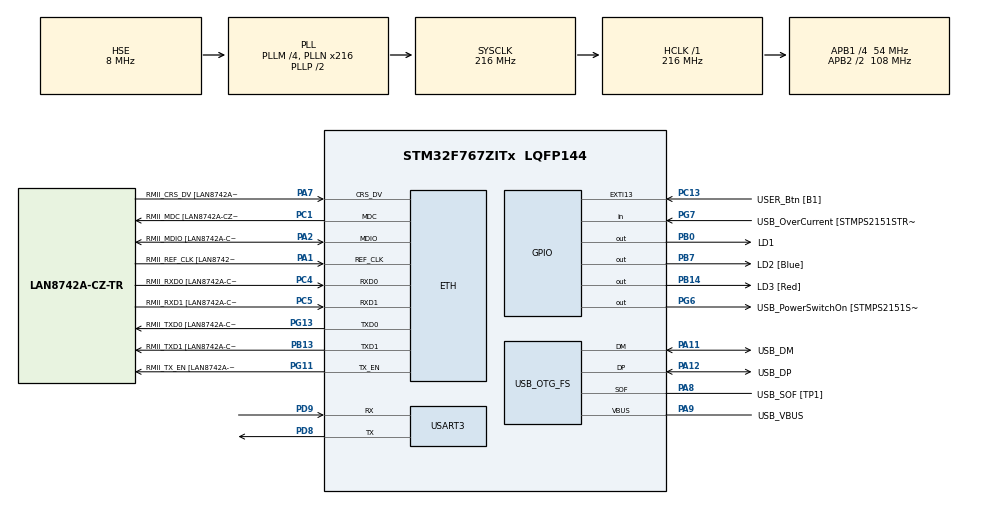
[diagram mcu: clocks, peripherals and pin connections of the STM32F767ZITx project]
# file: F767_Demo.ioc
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ADC1.Channel-0\#ChannelRegularConversion=ADC_CHANNEL_TEMPSENSOR
ADC1.NbrOfConversionFlag=1
ADC1.Rank-0\#ChannelRegularConversion=1
ADC1.SamplingTime-0\#ChannelRegularConversion=ADC_SAMPLETIME_3CYCLES
ADC1.master=1
CORTEX_M7.default_mode_Activation=1
Dma.ADC1.0.Direction=DMA_PERIPH_TO_MEMORY
Dma.ADC1.0.FIFOMode=DMA_FIFOMODE_DISABLE
Dma.ADC1.0.Instance=DMA2_Stream0
Dma.ADC1.0.MemDataAlignment=DMA_MDATAALIGN_HALFWORD
Dma.ADC1.0.MemInc=DMA_MINC_ENABLE
Dma.ADC1.0.Mode=DMA_CIRCULAR
Dma.ADC1.0.PeriphDataAlignment=DMA_PDATAALIGN_HALFWORD
Dma.ADC1.0.PeriphInc=DMA_PINC_DISABLE
Dma.ADC1.0.Priority=DMA_PRIORITY_LOW
Dma.Request0=ADC1
ETH.MediaInterface=HAL_ETH_RMII_MODE
ETH.PHY_Name=LAN8742A_PHY_ADDRESS
ETH.PHY_Value=0
ETH.PhyAddress=0
Mcu.Family=STM32F7
Mcu.Name=STM32F767ZITx
Mcu.Package=LQFP144
Mcu.UserConstants=SERIAL_BAUDRATE,921600;ADC_CHAN_NO,2
NVIC.DMA2_Stream0_IRQn=true\:0\:0\:false\:false\:true\:false\:true\:true
NVIC.PriorityGroup=NVIC_PRIORITYGROUP_4
NVIC.TIM8_TRG_COM_TIM14_IRQn=true\:15\:0\:false\:false\:true\:false\:true\:true
NVIC.TimeBase=TIM8_TRG_COM_TIM14_IRQn
NVIC.TimeBaseIP=TIM14
PA1.GPIO_Label=RMII_REF_CLK [LAN8742A-CZ-TR_REFCLK0]
PA1.Mode=RMII
PA1.Signal=ETH_REF_CLK
PA10.GPIO_Label=USB_ID
PA10.Signal=USB_OTG_FS_ID
PA11.GPIO_Label=USB_DM
PA11.Mode=Device_Only
PA11.Signal=USB_OTG_FS_DM
PA12.GPIO_Label=USB_DP
PA12.Mode=Device_Only
PA12.Signal=USB_OTG_FS_DP
PA13.GPIO_Label=TMS
PA13.Mode=Trace_Asynchronous_SW
PA13.Signal=SYS_JTMS-SWDIO
PA14.GPIO_Label=TCK
PA14.Mode=Trace_Asynchronous_SW
PA14.Signal=SYS_JTCK-SWCLK
PA2.GPIO_Label=RMII_MDIO [LAN8742A-CZ-TR_MDIO]
PA2.Mode=RMII
PA2.Signal=ETH_MDIO
PA7.GPIO_Label=RMII_CRS_DV [LAN8742A-CZ-TR_CRS_DV]
PA7.Mode=RMII
PA7.Signal=ETH_CRS_DV
PA8.GPIO_Label=USB_SOF [TP1]
PA8.Mode=Activate_SOF_FS
PA8.Signal=USB_OTG_FS_SOF
PA9.GPIO_Label=USB_VBUS
PA9.Mode=Activate_VBUS
PA9.Signal=USB_OTG_FS_VBUS
PB0.GPIO_Label=LD1
PB0.Signal=GPIO_Output
PB13.GPIO_Label=RMII_TXD1 [LAN8742A-CZ-TR_TXD1]
PB13.Mode=RMII
PB13.Signal=ETH_TXD1
PB14.GPIO_Label=LD3 [Red]
PB14.Signal=GPIO_Output
PB3.GPIO_Label=SWO
PB3.Mode=Trace_Asynchronous_SW
PB3.Signal=SYS_JTDO-SWO
PB7.GPIO_Label=LD2 [Blue]
PB7.Signal=GPIO_Output
PC1.GPIO_Label=RMII_MDC [LAN8742A-CZ-TR_MDC]
PC1.Mode=RMII
PC1.Signal=ETH_MDC
PC13.GPIO_Label=USER_Btn [B1]
PC13.Signal=GPXTI13
PC14/OSC32_IN.Mode=LSE-External-Oscillator
PC14/OSC32_IN.Signal=RCC_OSC32_IN
PC15/OSC32_OUT.Mode=LSE-External-Oscillator
PC15/OSC32_OUT.Signal=RCC_OSC32_OUT
PC4.GPIO_Label=RMII_RXD0 [LAN8742A-CZ-TR_RXD0]
PC4.Mode=RMII
PC4.Signal=ETH_RXD0
PC5.GPIO_Label=RMII_RXD1 [LAN8742A-CZ-TR_RXD1]
PC5.Mode=RMII
PC5.Signal=ETH_RXD1
PD8.GPIO_ModeDefaultPP=GPIO_MODE_AF_PP
PD8.GPIO_PuPd=GPIO_NOPULL
PD8.GPIO_Speed=GPIO_SPEED_FREQ_VERY_HIGH
PD8.Mode=Asynchronous
PD8.Signal=USART3_TX
PD9.GPIO_ModeDefaultPP=GPIO_MODE_AF_PP
PD9.GPIO_PuPd=GPIO_NOPULL
PD9.GPIO_Speed=GPIO_SPEED_FREQ_VERY_HIGH
PD9.Mode=Asynchronous
PD9.Signal=USART3_RX
PG11.GPIO_Label=RMII_TX_EN [LAN8742A-CZ-TR_TXEN]
PG11.Mode=RMII
PG11.Signal=ETH_TX_EN
PG13.GPIO_Label=RMII_TXD0 [LAN8742A-CZ-TR_TXD0]
PG13.Mode=RMII
PG13.Signal=ETH_TXD0
PG6.GPIO_Label=USB_PowerSwitchOn [STMPS2151STR_EN]
PG6.Signal=GPIO_Output
PG7.GPIO_Label=USB_OverCurrent [STMPS2151STR_FAULT]
PG7.Signal=GPIO_Input
PH0/OSC_IN.GPIO_Label=MCO [STM32F103CBT6_PA8]
PH0/OSC_IN.Mode=HSE-External-Clock-Source
PH0/OSC_IN.Signal=RCC_OSC_IN
PH1/OSC_OUT.Mode=HSE-External-Clock-Source
PH1/OSC_OUT.Signal=RCC_OSC_OUT
ProjectManager.HeapSize=0x1000
ProjectManager.StackSize=0x2000
ProjectManager.TargetToolchain=MDK-ARM V5.32
RCC.48MHZClocksFreq_Value=24000000
RCC.AHBFreq_Value=216000000
RCC.APB1CLKDivider=RCC_HCLK_DIV4
RCC.APB1Freq_Value=54000000
RCC.APB1TimFreq_Value=108000000
RCC.APB2CLKDivider=RCC_HCLK_DIV2
RCC.APB2Freq_Value=108000000
RCC.APB2TimFreq_Value=216000000
RCC.CortexFreq_Value=216000000
RCC.HCLKFreq_Value=216000000
RCC.HSE_VALUE=8000000
RCC.HSI_VALUE=16000000
RCC.PLLM=4
RCC.PLLMUL=RCC_PLL_MUL9
RCC.PLLN=216
RCC.PLLQ=9
RCC.PRESCALERUSB=RCC_USBCLKSOURCE_PLL_DIV1_5
RCC.SYSCLKFreq_VALUE=216000000
RCC.SYSCLKSource=RCC_SYSCLKSOURCE_PLLCLK
RCC.SYSCLKSourceVirtual=RCC_SYSCLKSOURCE_PLLCLK
RCC.USBFreq_Value=48000000
RCC.VCOOutputFreq_Value=432000000
USART3.BaudRate=SERIAL_BAUDRATE
USART3.VirtualMode-Asynchronous=VM_ASYNC
USB_OTG_FS.VirtualMode=Device_Only
VP_ADC1_TempSens_Input.Mode=IN-TempSens
VP_ADC1_Vref_Input.Mode=IN-Vrefint
VP_SYS_VS_tim14.Mode=TIM14
board=NUCLEO-F767ZI

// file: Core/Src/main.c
/* USER CODE BEGIN Header */
/**
  ******************************************************************************
  * @file           : main.c
  * @brief          : Main program body
  ******************************************************************************
  * @attention
  *
  * Copyright (c) 2026 STMicroelectronics.
  * All rights reserved.
  *
  * This software is licensed under terms that can be found in the LICENSE file
  * in the root directory of this software component.
  * If no LICENSE file comes with this software, it is provided AS-IS.
  *
  ******************************************************************************
  */
/* USER CODE END Header */
#include "main.h"
#include "adc.h"
#include "dma.h"
#include "eth.h"
#include "usart.h"
#include "usb_otg.h"
#include "gpio.h"

/* USER CODE BEGIN Includes */
#include <stdio.h>

#include "cmsis_os.h"
#include "ethernetif.h"
#include "lwip/netif.h"
#include "lwip/tcpip.h"
#include "app_ethernet.h"
#include "httpserver-netconn.h"
/* USER CODE END Includes */

void SystemClock_Config(void);
static void MPU_Config(void);

/* USER CODE BEGIN 0 */
struct netif gnetif; /* network interface structure */

/* Private function prototypes -----------------------------------------------*/
static void StartThread(void const * argument);
static void BSP_Config(void);
static void Netif_Config(void);
static void CPU_CACHE_Enable(void);

volatile uint16_t g_ADCBuf[2];

int stdout_putchar (int ch) {
	HAL_UART_Transmit(&huart3, (uint8_t*)&ch, 1, 0xFFFF);
	return ch;
}

extern uint32_t __Vectors;
extern uint32_t __Vectors_End;
extern uint32_t __Vectors_Size;

void user_loop(void) {
		printf("CC: %s\n", COMPILER_NAME);
		printf("%u Hz, %08X, CM:%d, FPU_USED:%d\n",
				SystemCoreClock, SCB->CPUID,
				__CORTEX_M, __FPU_USED);
		printf("vector: %08X %08X %08X\n", (uint32_t)(&__Vectors), (uint32_t)(&__Vectors_End), (uint32_t)(&SystemCoreClock));
		HAL_Delay(60 * configTICK_RATE_HZ);
}

/* USER CODE END 0 */

int main(void)
{

  /* MPU Configuration--------------------------------------------------------*/
  MPU_Config();

  /* MCU Configuration--------------------------------------------------------*/

  /* Reset of all peripherals, Initializes the Flash interface and the Systick. */
  HAL_Init();

  /* USER CODE BEGIN Init */
  /* Enable the CPU Cache */
  CPU_CACHE_Enable();
  /* USER CODE END Init */

  /* Configure the system clock */
  SystemClock_Config();

  /* Initialize all configured peripherals */
  MX_GPIO_Init();
  MX_DMA_Init();
  MX_ETH_Init();
  MX_USART3_UART_Init();
  MX_USB_OTG_FS_PCD_Init();
  MX_ADC1_Init();
  /* USER CODE BEGIN 2 */

	  BSP_Config();

  /* Init thread */
#if defined(__GNUC__)
  osThreadDef(Start, StartThread, osPriorityNormal, 0, configMINIMAL_STACK_SIZE * 5);
#else
  osThreadDef(Start, StartThread, osPriorityNormal, 0, configMINIMAL_STACK_SIZE * 2);
#endif

  osThreadCreate (osThread(Start), NULL);

	HAL_ADC_Start_DMA(&hadc1, (uint32_t*)g_ADCBuf, sizeof(g_ADCBuf)/sizeof(g_ADCBuf[0]));

	printf("CC: %s\n", COMPILER_NAME);
	printf("%u Hz, %08X, CM:%d, FPU_USED:%d\n",
			SystemCoreClock, SCB->CPUID,
			__CORTEX_M, __FPU_USED);
		printf("vector: %08X %08X %08X\n", (uint32_t)(&__Vectors), (uint32_t)(&__Vectors_End), (uint32_t)(&SystemCoreClock));

  /* Start scheduler */
	vTaskStartScheduler();
  /* USER CODE END 2 */

  /* Infinite loop */
  /* USER CODE BEGIN WHILE */
  while (1)
  {
		user_loop();
    /* USER CODE END WHILE */

  }
}

void SystemClock_Config(void)
{
  RCC_OscInitTypeDef RCC_OscInitStruct = {0};
  RCC_ClkInitTypeDef RCC_ClkInitStruct = {0};

  /** Configure LSE Drive Capability
  */
  HAL_PWR_EnableBkUpAccess();

  /** Configure the main internal regulator output voltage
  */
  __HAL_RCC_PWR_CLK_ENABLE();
  __HAL_PWR_VOLTAGESCALING_CONFIG(PWR_REGULATOR_VOLTAGE_SCALE1);

  /** Initializes the RCC Oscillators according to the specified parameters
  * in the RCC_OscInitTypeDef structure.
  */
  RCC_OscInitStruct.OscillatorType = RCC_OSCILLATORTYPE_HSE;
  RCC_OscInitStruct.HSEState = RCC_HSE_BYPASS;
  RCC_OscInitStruct.PLL.PLLState = RCC_PLL_ON;
  RCC_OscInitStruct.PLL.PLLSource = RCC_PLLSOURCE_HSE;
  RCC_OscInitStruct.PLL.PLLM = 4;
  RCC_OscInitStruct.PLL.PLLN = 216;
  RCC_OscInitStruct.PLL.PLLP = RCC_PLLP_DIV2;
  RCC_OscInitStruct.PLL.PLLQ = 9;
  RCC_OscInitStruct.PLL.PLLR = 2;
  if (HAL_RCC_OscConfig(&RCC_OscInitStruct) != HAL_OK)
  {
    Error_Handler();
  }

  /** Activate the Over-Drive mode
  */
  if (HAL_PWREx_EnableOverDrive() != HAL_OK)
  {
    Error_Handler();
  }

  /** Initializes the CPU, AHB and APB buses clocks
  */
  RCC_ClkInitStruct.ClockType = RCC_CLOCKTYPE_HCLK|RCC_CLOCKTYPE_SYSCLK
                              |RCC_CLOCKTYPE_PCLK1|RCC_CLOCKTYPE_PCLK2;
  RCC_ClkInitStruct.SYSCLKSource = RCC_SYSCLKSOURCE_PLLCLK;
  RCC_ClkInitStruct.AHBCLKDivider = RCC_SYSCLK_DIV1;
  RCC_ClkInitStruct.APB1CLKDivider = RCC_HCLK_DIV4;
  RCC_ClkInitStruct.APB2CLKDivider = RCC_HCLK_DIV2;

  if (HAL_RCC_ClockConfig(&RCC_ClkInitStruct, FLASH_LATENCY_7) != HAL_OK)
  {
    Error_Handler();
  }
}

/* USER CODE BEGIN 4 */
/**
  * @brief  Start Thread
  * @param  argument not used
  * @retval None
  */
static void StartThread(void const * argument)
{
  /* Create tcp_ip stack thread */
  tcpip_init(NULL, NULL);

  /* Initialize the LwIP stack */
  Netif_Config();

  /* Initialize webserver demo */
  http_server_netconn_init();

  for( ;; )
  {
    /* Delete the Init Thread */
    osThreadTerminate(NULL);
  }
}

/**
  * @brief  Initializes the STM324x9I-EVAL's LCD and LEDs resources.
  * @param  None
  * @retval None
  */
static void BSP_Config(void)
{
  /* Configure LED1 and LED2 */
  BSP_LED_Init(LED1);
  BSP_LED_Init(LED2);
}

/**
  * @brief  Initializes the lwIP stack
  * @param  None
  * @retval None
  */
static void Netif_Config(void)
{
  ip_addr_t ipaddr;
  ip_addr_t netmask;
  ip_addr_t gw;

#if LWIP_DHCP
  ip_addr_set_zero_ip4(&ipaddr);
  ip_addr_set_zero_ip4(&netmask);
  ip_addr_set_zero_ip4(&gw);
#else
  IP_ADDR4(&ipaddr,IP_ADDR0,IP_ADDR1,IP_ADDR2,IP_ADDR3);
  IP_ADDR4(&netmask,NETMASK_ADDR0,NETMASK_ADDR1,NETMASK_ADDR2,NETMASK_ADDR3);
  IP_ADDR4(&gw,GW_ADDR0,GW_ADDR1,GW_ADDR2,GW_ADDR3);
#endif /* LWIP_DHCP */

  /* add the network interface */
  netif_add(&gnetif, &ipaddr, &netmask, &gw, NULL, &ethernetif_init, &tcpip_input);

  /*  Registers the default network interface. */
  netif_set_default(&gnetif);

  ethernet_link_status_updated(&gnetif);

#if LWIP_NETIF_LINK_CALLBACK
  netif_set_link_callback(&gnetif, ethernet_link_status_updated);

  osThreadDef(EthLink, ethernet_link_thread, osPriorityNormal, 0, configMINIMAL_STACK_SIZE *2);
  osThreadCreate (osThread(EthLink), &gnetif);
#endif

#if LWIP_DHCP
  /* Start DHCPClient */
  osThreadDef(DHCP, DHCP_Thread, osPriorityBelowNormal, 0, configMINIMAL_STACK_SIZE * 2);
  osThreadCreate (osThread(DHCP), &gnetif);
#endif
}

/**
  * @brief  Configure the MPU attributes .
  * @param  None
  * @retval None
  */
static void MPU_Config(void)
{
  MPU_Region_InitTypeDef MPU_InitStruct;

  /* Disable the MPU */
  HAL_MPU_Disable();

  /* Configure the MPU as Strongly ordered for not defined regions */
  MPU_InitStruct.Enable = MPU_REGION_ENABLE;
  MPU_InitStruct.BaseAddress = 0x00;
  MPU_InitStruct.Size = MPU_REGION_SIZE_4GB;
  MPU_InitStruct.AccessPermission = MPU_REGION_NO_ACCESS;
  MPU_InitStruct.IsBufferable = MPU_ACCESS_NOT_BUFFERABLE;
  MPU_InitStruct.IsCacheable = MPU_ACCESS_NOT_CACHEABLE;
  MPU_InitStruct.IsShareable = MPU_ACCESS_SHAREABLE;
  MPU_InitStruct.Number = MPU_REGION_NUMBER0;
  MPU_InitStruct.TypeExtField = MPU_TEX_LEVEL0;
  MPU_InitStruct.SubRegionDisable = 0x87;
  MPU_InitStruct.DisableExec = MPU_INSTRUCTION_ACCESS_DISABLE;

  HAL_MPU_ConfigRegion(&MPU_InitStruct);

  /* Configure the MPU as Normal Non Cacheable for Ethernet Buffers in the SRAM2 */
  MPU_InitStruct.Enable = MPU_REGION_ENABLE;
  MPU_InitStruct.BaseAddress = 0x20078000;
  MPU_InitStruct.Size = MPU_REGION_SIZE_16KB;
  MPU_InitStruct.AccessPermission = MPU_REGION_FULL_ACCESS;
  MPU_InitStruct.IsBufferable = MPU_ACCESS_NOT_BUFFERABLE;
  MPU_InitStruct.IsCacheable = MPU_ACCESS_NOT_CACHEABLE;
  MPU_InitStruct.IsShareable = MPU_ACCESS_NOT_SHAREABLE;
  MPU_InitStruct.Number = MPU_REGION_NUMBER1;
  MPU_InitStruct.TypeExtField = MPU_TEX_LEVEL1;
  MPU_InitStruct.SubRegionDisable = 0x00;
  MPU_InitStruct.DisableExec = MPU_INSTRUCTION_ACCESS_ENABLE;

  HAL_MPU_ConfigRegion(&MPU_InitStruct);

  /* Configure the MPU as Device for Ethernet Descriptors in the SRAM2 */
  MPU_InitStruct.Enable = MPU_REGION_ENABLE;
  MPU_InitStruct.BaseAddress = 0x2007C000;
  MPU_InitStruct.Size = MPU_REGION_SIZE_1KB;
  MPU_InitStruct.AccessPermission = MPU_REGION_FULL_ACCESS;
  MPU_InitStruct.IsBufferable = MPU_ACCESS_BUFFERABLE;
  MPU_InitStruct.IsCacheable = MPU_ACCESS_NOT_CACHEABLE;
  MPU_InitStruct.IsShareable = MPU_ACCESS_SHAREABLE;
  MPU_InitStruct.Number = MPU_REGION_NUMBER2;
  MPU_InitStruct.TypeExtField = MPU_TEX_LEVEL0;
  MPU_InitStruct.SubRegionDisable = 0x00;
  MPU_InitStruct.DisableExec = MPU_INSTRUCTION_ACCESS_ENABLE;

  HAL_MPU_ConfigRegion(&MPU_InitStruct);

  /* Enable the MPU */
  HAL_MPU_Enable(MPU_PRIVILEGED_DEFAULT);
}

/**
  * @brief  CPU L1-Cache enable.
  * @param  None
  * @retval None
  */
static void CPU_CACHE_Enable(void)
{
  /* Enable I-Cache */
  SCB_EnableICache();

  /* Enable D-Cache */
  SCB_EnableDCache();
}

/* USER CODE END 4 */

 /* MPU Configuration */

//void MPU_Config(void)
//{
//  MPU_Region_InitTypeDef MPU_InitStruct = {0};

//  /* Disables the MPU */
//  HAL_MPU_Disable();

//  /** Initializes and configures the Region and the memory to be protected
//  */
//  MPU_InitStruct.Enable = MPU_REGION_ENABLE;
//  MPU_InitStruct.Number = MPU_REGION_NUMBER0;
//  MPU_InitStruct.BaseAddress = 0x0;
//  MPU_InitStruct.Size = MPU_REGION_SIZE_4GB;
//  MPU_InitStruct.SubRegionDisable = 0x87;
//  MPU_InitStruct.TypeExtField = MPU_TEX_LEVEL0;
//  MPU_InitStruct.AccessPermission = MPU_REGION_NO_ACCESS;
//  MPU_InitStruct.DisableExec = MPU_INSTRUCTION_ACCESS_DISABLE;
//  MPU_InitStruct.IsShareable = MPU_ACCESS_SHAREABLE;
//  MPU_InitStruct.IsCacheable = MPU_ACCESS_NOT_CACHEABLE;
//  MPU_InitStruct.IsBufferable = MPU_ACCESS_NOT_BUFFERABLE;

//  HAL_MPU_ConfigRegion(&MPU_InitStruct);
//  /* Enables the MPU */
//  HAL_MPU_Enable(MPU_PRIVILEGED_DEFAULT);

//}

void HAL_TIM_PeriodElapsedCallback(TIM_HandleTypeDef *htim)
{
  if (htim->Instance == TIM14)
  {
    HAL_IncTick();
  }
}

void Error_Handler(void)
{
  __disable_irq();
  while (1)
  {
  }
}
